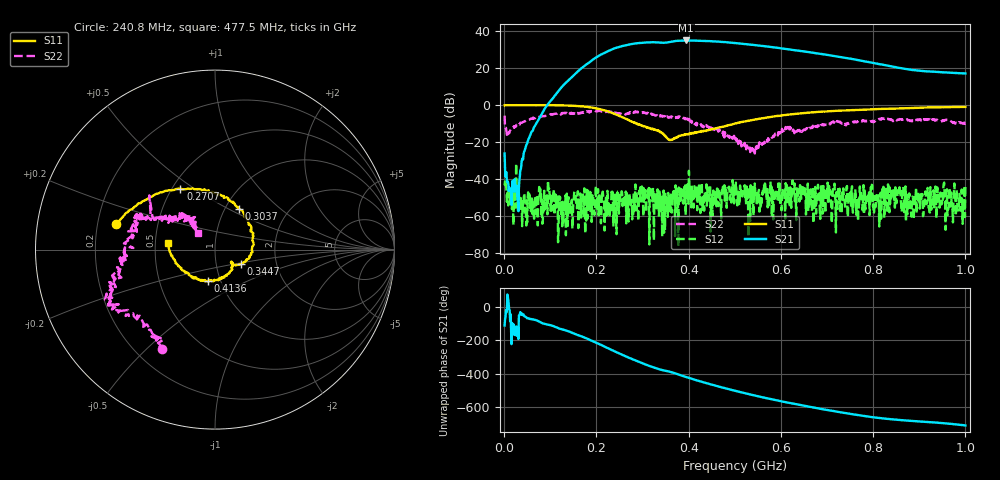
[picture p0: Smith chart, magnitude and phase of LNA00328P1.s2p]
! Created with skrf 1.9.0 (http://scikit-rf.org).
# Hz S RI R 50.0
!freq ReS11 ImS11 ReS21 ImS21 ReS12 ImS12 ReS22 ImS22
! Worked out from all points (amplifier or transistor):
!   1001 points, 1 MHz to 1 GHz, reference 50 ohm
!   highest |S21| = 35.0 dB at 394.6 MHz (marker M1)
!   |S21| within 3 dB of that: 256.4 MHz to 560.7 MHz (304.3 MHz wide, 74.5 % of centre)
!   unconditionally stable (mu >= 1): 26.02 MHz to 78.57 MHz; 295.8 MHz to 400.3 MHz; 401.3 MHz to end of sweep (the widest 3 of 29)
!   at 166.8 MHz: K = 5.19, MAG = 30.3 dB, |S12| = -60.9 dB
!   at 500.5 MHz: K = 1.39, MAG = 34.4 dB, |S12| = -42.7 dB
!   at 1 GHz: K = 2.03, MAG = 24.6 dB, |S12| = -43.6 dB
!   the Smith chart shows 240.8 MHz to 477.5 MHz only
!   S11 on the Smith chart (normalised r, x): 240.8 MHz: 0.28, +0.12; 270.7 MHz: 0.55, +0.44; 303.7 MHz: 1.16, +0.57; 344.7 MHz: 1.31, -0.22; 413.6 MHz: 0.87, -0.31; 477.5 MHz: 0.58, +0.04
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1000000  0.987 0.00477  -0.0178 -0.0454  -0.00232 0.00631  0.3897 0.3411
1.08892e8  0.5096 -0.8534  -0.8093 -1.539  7.04e-05 0.00105  0.4403 -0.3656
1.67833e8  -0.2563 -0.8901  -10.05 -0.5513  -0.00215 0.000949  0.0745 -0.6258
2.08792e8  -0.6742 -0.3773  -15.75 16.71  -0.00249 -0.000757  -0.1887 -0.6682
2.4076e8  -0.5513 0.1421  -1.147 34.95  -0.000113 0.00204  -0.2979 -0.5528
2.7073e8  -0.1923 0.3392  25.34 35.52  -0.0035 -0.000103  -0.4984 -0.3697
3.03697e8  0.1335 0.228  47.06 14.58  -0.00326 -0.000122  -0.5756 -0.212
3.34666e8  0.2018 -0.0274  48.51 -11.42  -0.0023 0.00259  -0.5 -0.0476
3.44656e8  0.1426 -0.0816  45.44 -17.4  0.000679 0.00256  -0.5088 -0.0163
3.68632e8  0.0997 -0.0793  43.26 -32.43  -0.00149 0.00439  -0.4526 0.1401
3.94606e8  0.0432 -0.1571  27.24 -49.46  0.00216 0.00371  -0.3892 0.1802
4.13587e8  -0.0401 -0.1748  11.99 -54.48  5.38e-05 0.00469  -0.2635 0.1701
4.43557e8  -0.1756 -0.1164  -10.87 -52.95  0.00324 0.00137  -0.1721 0.1928
4.77523e8  -0.2631 0.0347  -30.7 -40.73  0.00499 -0.00457  -0.0942 0.0943
5.005e8  -0.2755 0.1543  -39.09 -28.52  -0.00366 0.00639  -0.0822 0.1234
5.39461e8  -0.1862 0.3504  -42.15 -7.673  0.00204 -0.00299  -0.0576 -0.00643
5.84416e8  0.0102 0.4924  -35.2 11.06  0.00375 -0.0013  -0.1222 -0.0623
6.25375e8  0.2056 0.5303  -23.77 20.33  0.00359 -0.00842  -0.166 -0.0887
6.67333e8  0.4021 0.4892  -11.97 23.45  -0.0012 0.000612  -0.2461 -0.0386
7.49251e8  0.6637 0.2923  3.671 17.86  -0.00176 -0.00279  -0.3156 0.051
8.34166e8  0.7974 0.0322  7.968 8.399  -0.00068 0.00619  -0.3818 0.1668
1e9  0.7287 -0.5214  7.158 0.992  -0.00662 -0.000173  -0.064 0.3149
